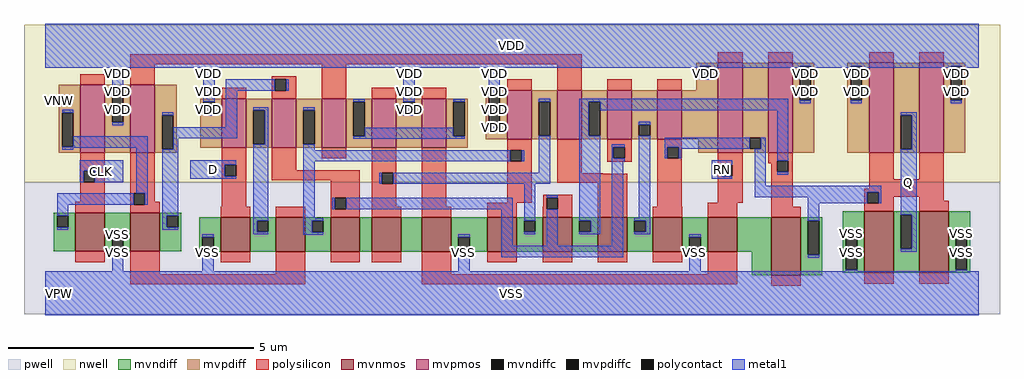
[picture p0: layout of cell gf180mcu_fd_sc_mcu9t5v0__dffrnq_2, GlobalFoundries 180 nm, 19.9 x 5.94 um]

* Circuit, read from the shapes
.subckt gf180mcu_fd_sc_mcu9t5v0__dffrnq_2 D RN CLK Q VDD VNW VPW VSS
XM1 VSS CLK n1 VPW nfet_06v0 w=0.79u l=0.6u
XM2 n2 n1 VSS VPW nfet_06v0 w=0.79u l=0.6u
XM3 n3 D VSS VPW nfet_06v0 w=0.7u l=0.6u
XM4 n4 n1 n3 VPW nfet_06v0 w=0.7u l=0.6u
XM5 n5 n2 n4 VPW nfet_06v0 w=0.7u l=0.6u
XM6 n6 n7 n5 VPW nfet_06v0 w=0.7u l=0.6u
XM7 VSS RN n6 VPW nfet_06v0 w=0.7u l=0.6u
XM8 n7 n4 VSS VPW nfet_06v0 w=0.7u l=0.6u
XM9 n8 n2 n7 VPW nfet_06v0 w=0.7u l=0.6u
XM10 n9 n1 n8 VPW nfet_06v0 w=0.7u l=0.6u
XM11 VSS n10 n9 VPW nfet_06v0 w=0.7u l=0.6u
XM12 n11 RN VSS VPW nfet_06v0 w=0.7u l=0.6u
XM13 n10 n8 n11 VPW nfet_06v0 w=1.18u l=0.6u
XM14 Q n10 VSS VPW nfet_06v0 w=1.25u l=0.6u m=2
XM15 VDD CLK n1 VNW pfet_06v0 w=1.38u l=0.5u
XM16 n2 n1 VDD VNW pfet_06v0 w=1.38u l=0.5u
XM17 n3 D VDD VNW pfet_06v0 w=1u l=0.5u
XM18 n4 n2 n3 VNW pfet_06v0 w=1u l=0.5u
XM19 n12 n1 n4 VNW pfet_06v0 w=1u l=0.5u
XM20 VDD n7 n12 VNW pfet_06v0 w=1u l=0.5u
XM21 n12 RN VDD VNW pfet_06v0 w=1u l=0.5u
XM22 n7 n4 VDD VNW pfet_06v0 w=1u l=0.5u
XM23 n8 n1 n7 VNW pfet_06v0 w=1u l=0.5u
XM24 n9 n2 n8 VNW pfet_06v0 w=1u l=0.5u
XM25 VDD n10 n9 VNW pfet_06v0 w=1u l=0.5u
XM26 n10 RN VDD VNW pfet_06v0 w=1.83u l=0.5u
XM27 VDD n8 n10 VNW pfet_06v0 w=1.83u l=0.5u
XM28 Q n10 VDD VNW pfet_06v0 w=1.83u l=0.5u m=2
.ends

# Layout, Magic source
magic
tech gf180mcuD
magscale 1 10
<< nwell >>
rect -86 453 3894 1094
<< pwell >>
rect -86 -86 3894 453
<< mvnmos >>
rect 124 170 244 328
rect 348 170 468 328
rect 716 169 836 309
rect 940 169 1060 309
rect 1164 169 1284 309
rect 1332 169 1452 309
rect 1536 169 1656 309
rect 1804 169 1924 309
rect 2030 169 2150 309
rect 2254 169 2374 309
rect 2478 169 2598 309
rect 2702 169 2822 309
rect 2962 73 3082 309
rect 3340 83 3460 333
rect 3564 83 3684 333
<< mvpmos >>
rect 144 573 244 849
rect 348 573 448 849
rect 720 593 820 793
rect 924 593 1024 793
rect 1128 593 1228 793
rect 1332 593 1432 793
rect 1536 593 1636 793
rect 1884 628 1984 828
rect 2088 628 2188 828
rect 2292 628 2392 828
rect 2496 628 2596 828
rect 2744 573 2844 939
rect 2948 573 3048 939
rect 3360 573 3460 939
rect 3564 573 3664 939
<< mvndiff >>
rect 36 315 124 328
rect 36 269 49 315
rect 95 269 124 315
rect 36 170 124 269
rect 244 229 348 328
rect 244 183 273 229
rect 319 183 348 229
rect 244 170 348 183
rect 468 315 556 328
rect 468 269 497 315
rect 543 269 556 315
rect 468 170 556 269
rect 628 228 716 309
rect 628 182 641 228
rect 687 182 716 228
rect 628 169 716 182
rect 836 296 940 309
rect 836 250 865 296
rect 911 250 940 296
rect 836 169 940 250
rect 1060 294 1164 309
rect 1060 248 1089 294
rect 1135 248 1164 294
rect 1060 169 1164 248
rect 1284 169 1332 309
rect 1452 169 1536 309
rect 1656 228 1804 309
rect 1656 182 1685 228
rect 1731 182 1804 228
rect 1656 169 1804 182
rect 1924 296 2030 309
rect 1924 250 1953 296
rect 1999 250 2030 296
rect 1924 169 2030 250
rect 2150 296 2254 309
rect 2150 250 2179 296
rect 2225 250 2254 296
rect 2150 169 2254 250
rect 2374 296 2478 309
rect 2374 250 2403 296
rect 2449 250 2478 296
rect 2374 169 2478 250
rect 2598 228 2702 309
rect 2598 182 2627 228
rect 2673 182 2702 228
rect 2598 169 2702 182
rect 2822 169 2962 309
rect 2882 73 2962 169
rect 3082 296 3170 309
rect 3082 156 3111 296
rect 3157 156 3170 296
rect 3082 73 3170 156
rect 3252 236 3340 333
rect 3252 96 3265 236
rect 3311 96 3340 236
rect 3252 83 3340 96
rect 3460 320 3564 333
rect 3460 180 3489 320
rect 3535 180 3564 320
rect 3460 83 3564 180
rect 3684 236 3772 333
rect 3684 96 3713 236
rect 3759 96 3772 236
rect 3684 83 3772 96
<< mvpdiff >>
rect 56 736 144 849
rect 56 596 69 736
rect 115 596 144 736
rect 56 573 144 596
rect 244 836 348 849
rect 244 696 273 836
rect 319 696 348 836
rect 244 573 348 696
rect 448 726 536 849
rect 2656 926 2744 939
rect 2656 880 2669 926
rect 2715 880 2744 926
rect 2656 828 2744 880
rect 1796 815 1884 828
rect 448 586 477 726
rect 523 586 536 726
rect 632 780 720 793
rect 632 734 645 780
rect 691 734 720 780
rect 632 593 720 734
rect 820 746 924 793
rect 820 606 849 746
rect 895 606 924 746
rect 820 593 924 606
rect 1024 746 1128 793
rect 1024 606 1053 746
rect 1099 606 1128 746
rect 1024 593 1128 606
rect 1228 780 1332 793
rect 1228 640 1257 780
rect 1303 640 1332 780
rect 1228 593 1332 640
rect 1432 780 1536 793
rect 1432 734 1461 780
rect 1507 734 1536 780
rect 1432 593 1536 734
rect 1636 780 1724 793
rect 1636 640 1665 780
rect 1711 640 1724 780
rect 1636 593 1724 640
rect 1796 675 1809 815
rect 1855 675 1884 815
rect 1796 628 1884 675
rect 1984 781 2088 828
rect 1984 641 2013 781
rect 2059 641 2088 781
rect 1984 628 2088 641
rect 2188 781 2292 828
rect 2188 641 2217 781
rect 2263 641 2292 781
rect 2188 628 2292 641
rect 2392 687 2496 828
rect 2392 641 2421 687
rect 2467 641 2496 687
rect 2392 628 2496 641
rect 2596 628 2744 828
rect 448 573 536 586
rect 2664 573 2744 628
rect 2844 634 2948 939
rect 2844 588 2873 634
rect 2919 588 2948 634
rect 2844 573 2948 588
rect 3048 926 3136 939
rect 3048 786 3077 926
rect 3123 786 3136 926
rect 3048 573 3136 786
rect 3272 926 3360 939
rect 3272 786 3285 926
rect 3331 786 3360 926
rect 3272 573 3360 786
rect 3460 726 3564 939
rect 3460 586 3489 726
rect 3535 586 3564 726
rect 3460 573 3564 586
rect 3664 926 3752 939
rect 3664 786 3693 926
rect 3739 786 3752 926
rect 3664 573 3752 786
<< mvndiffc >>
rect 49 269 95 315
rect 273 183 319 229
rect 497 269 543 315
rect 641 182 687 228
rect 865 250 911 296
rect 1089 248 1135 294
rect 1685 182 1731 228
rect 1953 250 1999 296
rect 2179 250 2225 296
rect 2403 250 2449 296
rect 2627 182 2673 228
rect 3111 156 3157 296
rect 3265 96 3311 236
rect 3489 180 3535 320
rect 3713 96 3759 236
<< mvpdiffc >>
rect 69 596 115 736
rect 273 696 319 836
rect 2669 880 2715 926
rect 477 586 523 726
rect 645 734 691 780
rect 849 606 895 746
rect 1053 606 1099 746
rect 1257 640 1303 780
rect 1461 734 1507 780
rect 1665 640 1711 780
rect 1809 675 1855 815
rect 2013 641 2059 781
rect 2217 641 2263 781
rect 2421 641 2467 687
rect 2873 588 2919 634
rect 3077 786 3123 926
rect 3285 786 3331 926
rect 3489 586 3535 726
rect 3693 786 3739 926
<< polysilicon >>
rect 348 933 2188 973
rect 2744 939 2844 983
rect 2948 939 3048 983
rect 3360 939 3460 983
rect 3564 939 3664 983
rect 144 849 244 893
rect 348 849 448 933
rect 924 872 1024 885
rect 720 793 820 837
rect 924 826 937 872
rect 983 826 1024 872
rect 924 793 1024 826
rect 1128 793 1228 933
rect 1332 793 1432 837
rect 1536 793 1636 837
rect 1884 828 1984 872
rect 2088 828 2188 933
rect 2292 828 2392 872
rect 2496 828 2596 872
rect 144 499 244 573
rect 144 453 157 499
rect 203 453 244 499
rect 144 372 244 453
rect 124 328 244 372
rect 348 407 448 573
rect 348 361 361 407
rect 407 372 448 407
rect 720 523 820 593
rect 720 477 733 523
rect 779 477 820 523
rect 407 361 468 372
rect 348 328 468 361
rect 720 353 820 477
rect 924 501 1024 593
rect 1128 549 1228 593
rect 924 461 1284 501
rect 1164 388 1284 461
rect 716 309 836 353
rect 940 309 1060 353
rect 1164 342 1182 388
rect 1228 342 1284 388
rect 1164 309 1284 342
rect 1332 491 1432 593
rect 1332 445 1373 491
rect 1419 445 1432 491
rect 1332 353 1432 445
rect 1536 353 1636 593
rect 1884 583 1984 628
rect 1884 537 1897 583
rect 1943 537 1984 583
rect 1884 369 1984 537
rect 2088 489 2188 628
rect 2292 595 2392 628
rect 2292 549 2317 595
rect 2363 549 2392 595
rect 2292 536 2392 549
rect 2496 595 2596 628
rect 2496 549 2537 595
rect 2583 549 2596 595
rect 2088 486 2274 489
rect 2088 449 2374 486
rect 2032 388 2150 401
rect 1332 309 1452 353
rect 1536 309 1656 353
rect 1804 309 1924 369
rect 2032 353 2045 388
rect 2030 342 2045 353
rect 2091 342 2150 388
rect 2030 309 2150 342
rect 2254 309 2374 449
rect 2496 353 2596 549
rect 2744 523 2844 573
rect 2948 540 3048 573
rect 2948 529 2985 540
rect 2744 477 2757 523
rect 2803 477 2844 523
rect 2744 369 2844 477
rect 2962 494 2985 529
rect 3031 494 3048 540
rect 2478 309 2598 353
rect 2702 309 2822 369
rect 2962 353 3048 494
rect 3360 464 3460 573
rect 3564 464 3664 573
rect 3360 425 3664 464
rect 3340 412 3664 425
rect 3340 366 3353 412
rect 3399 393 3664 412
rect 3399 366 3460 393
rect 2962 309 3082 353
rect 3340 333 3460 366
rect 3564 377 3664 393
rect 3564 333 3684 377
rect 124 126 244 170
rect 348 77 468 170
rect 716 125 836 169
rect 940 77 1060 169
rect 1164 125 1284 169
rect 1332 125 1452 169
rect 348 37 1060 77
rect 1536 77 1656 169
rect 1804 125 1924 169
rect 2030 125 2150 169
rect 2254 125 2374 169
rect 2478 125 2598 169
rect 2702 77 2822 169
rect 1536 37 2822 77
rect 2962 29 3082 73
rect 3340 39 3460 83
rect 3564 39 3684 83
<< polycontact >>
rect 937 826 983 872
rect 157 453 203 499
rect 361 361 407 407
rect 733 477 779 523
rect 1182 342 1228 388
rect 1373 445 1419 491
rect 1897 537 1943 583
rect 2317 549 2363 595
rect 2537 549 2583 595
rect 2045 342 2091 388
rect 2757 477 2803 523
rect 2985 494 3031 540
rect 3353 366 3399 412
<< metal1 >>
rect 0 926 3808 1098
rect 0 918 2669 926
rect 273 836 319 918
rect 69 736 115 747
rect 645 780 691 918
rect 273 685 319 696
rect 477 726 523 737
rect 115 596 418 639
rect 69 593 418 596
rect 69 585 115 593
rect 142 499 318 542
rect 142 453 157 499
rect 203 453 318 499
rect 372 407 418 593
rect 49 361 361 407
rect 407 361 418 407
rect 645 723 691 734
rect 737 826 937 872
rect 983 826 994 872
rect 737 677 783 826
rect 1257 780 1303 791
rect 523 631 783 677
rect 849 746 911 757
rect 523 586 543 631
rect 49 315 95 361
rect 49 258 95 269
rect 477 315 543 586
rect 895 606 911 746
rect 592 523 779 542
rect 592 477 733 523
rect 592 466 779 477
rect 477 269 497 315
rect 477 258 543 269
rect 849 296 911 606
rect 849 250 865 296
rect 273 229 319 240
rect 849 239 911 250
rect 1053 746 1099 757
rect 1461 780 1507 918
rect 1809 815 1855 918
rect 2715 918 3077 926
rect 2669 869 2715 880
rect 1461 723 1507 734
rect 1665 780 1711 791
rect 1303 640 1665 675
rect 1809 664 1855 675
rect 2013 781 2059 792
rect 1257 629 1711 640
rect 1053 583 1099 606
rect 1053 537 1897 583
rect 1943 537 1954 583
rect 1053 305 1099 537
rect 2013 491 2059 641
rect 1362 445 1373 491
rect 1419 445 2059 491
rect 2179 781 3031 792
rect 2179 641 2217 781
rect 2263 746 3031 781
rect 3123 918 3285 926
rect 3077 775 3123 786
rect 3331 918 3693 926
rect 3285 775 3331 786
rect 3739 918 3808 926
rect 3693 775 3739 786
rect 1171 342 1182 388
rect 1228 342 1907 388
rect 1053 294 1135 305
rect 1053 248 1089 294
rect 273 90 319 183
rect 641 228 687 239
rect 1053 237 1135 248
rect 641 90 687 182
rect 1685 228 1731 239
rect 1685 90 1731 182
rect 1861 193 1907 342
rect 1953 296 1999 445
rect 1953 239 1999 250
rect 2045 388 2091 399
rect 2045 193 2091 342
rect 2179 296 2263 641
rect 2421 687 2467 698
rect 2225 250 2263 296
rect 2179 239 2263 250
rect 2311 595 2363 606
rect 2311 549 2317 595
rect 2311 538 2363 549
rect 2311 193 2357 538
rect 2421 307 2467 641
rect 2526 595 2873 634
rect 2526 549 2537 595
rect 2583 588 2873 595
rect 2919 588 2939 634
rect 2583 549 2594 588
rect 2718 523 2803 542
rect 2718 477 2757 523
rect 2718 466 2803 477
rect 2893 437 2939 588
rect 2985 540 3031 746
rect 2985 483 3031 494
rect 3489 726 3554 737
rect 3535 586 3554 726
rect 2893 412 3410 437
rect 2893 391 3353 412
rect 2403 296 2467 307
rect 2449 250 2467 296
rect 2403 239 2467 250
rect 3111 366 3353 391
rect 3399 366 3410 412
rect 3111 296 3157 366
rect 1861 147 2357 193
rect 2627 228 2673 239
rect 2627 90 2673 182
rect 3489 320 3554 586
rect 3111 145 3157 156
rect 3265 236 3311 247
rect 3535 180 3554 320
rect 3489 169 3554 180
rect 3713 236 3759 247
rect 3265 90 3311 96
rect 3713 90 3759 96
rect 0 -90 3808 90
<< labels >>
flabel metal1 s 142 453 318 542 0 FreeSans 200 0 0 0 CLK
port 3 nsew clock input
flabel metal1 s 592 466 779 542 0 FreeSans 200 0 0 0 D
port 1 nsew default input
flabel metal1 s 3489 169 3554 737 0 FreeSans 200 0 0 0 Q
port 4 nsew default output
flabel metal1 s 2718 466 2803 542 0 FreeSans 200 0 0 0 RN
port 2 nsew default input
flabel metal1 s 0 918 3808 1098 0 FreeSans 200 0 0 0 VDD
port 5 nsew power bidirectional abutment
flabel metal1 s 3713 240 3759 247 0 FreeSans 200 0 0 0 VSS
port 8 nsew ground bidirectional abutment
flabel nwell s 10 734 110 834 0 FreeSans 400 0 0 0 VNW
port 6 nsew power bidirectional
flabel pwell s 10 -50 110 50 0 FreeSans 400 0 0 0 VPW
port 7 nsew ground bidirectional
rlabel metal1 s 3693 869 3739 918 1 VDD
port 5 nsew power bidirectional abutment
rlabel metal1 s 3285 869 3331 918 1 VDD
port 5 nsew power bidirectional abutment
rlabel metal1 s 3077 869 3123 918 1 VDD
port 5 nsew power bidirectional abutment
rlabel metal1 s 2669 869 2715 918 1 VDD
port 5 nsew power bidirectional abutment
rlabel metal1 s 1809 869 1855 918 1 VDD
port 5 nsew power bidirectional abutment
rlabel metal1 s 1461 869 1507 918 1 VDD
port 5 nsew power bidirectional abutment
rlabel metal1 s 645 869 691 918 1 VDD
port 5 nsew power bidirectional abutment
rlabel metal1 s 273 869 319 918 1 VDD
port 5 nsew power bidirectional abutment
rlabel metal1 s 3693 775 3739 869 1 VDD
port 5 nsew power bidirectional abutment
rlabel metal1 s 3285 775 3331 869 1 VDD
port 5 nsew power bidirectional abutment
rlabel metal1 s 3077 775 3123 869 1 VDD
port 5 nsew power bidirectional abutment
rlabel metal1 s 1809 775 1855 869 1 VDD
port 5 nsew power bidirectional abutment
rlabel metal1 s 1461 775 1507 869 1 VDD
port 5 nsew power bidirectional abutment
rlabel metal1 s 645 775 691 869 1 VDD
port 5 nsew power bidirectional abutment
rlabel metal1 s 273 775 319 869 1 VDD
port 5 nsew power bidirectional abutment
rlabel metal1 s 1809 723 1855 775 1 VDD
port 5 nsew power bidirectional abutment
rlabel metal1 s 1461 723 1507 775 1 VDD
port 5 nsew power bidirectional abutment
rlabel metal1 s 645 723 691 775 1 VDD
port 5 nsew power bidirectional abutment
rlabel metal1 s 273 723 319 775 1 VDD
port 5 nsew power bidirectional abutment
rlabel metal1 s 1809 685 1855 723 1 VDD
port 5 nsew power bidirectional abutment
rlabel metal1 s 273 685 319 723 1 VDD
port 5 nsew power bidirectional abutment
rlabel metal1 s 1809 664 1855 685 1 VDD
port 5 nsew power bidirectional abutment
rlabel metal1 s 3265 240 3311 247 1 VSS
port 8 nsew ground bidirectional abutment
rlabel metal1 s 3713 239 3759 240 1 VSS
port 8 nsew ground bidirectional abutment
rlabel metal1 s 3265 239 3311 240 1 VSS
port 8 nsew ground bidirectional abutment
rlabel metal1 s 273 239 319 240 1 VSS
port 8 nsew ground bidirectional abutment
rlabel metal1 s 3713 90 3759 239 1 VSS
port 8 nsew ground bidirectional abutment
rlabel metal1 s 3265 90 3311 239 1 VSS
port 8 nsew ground bidirectional abutment
rlabel metal1 s 2627 90 2673 239 1 VSS
port 8 nsew ground bidirectional abutment
rlabel metal1 s 1685 90 1731 239 1 VSS
port 8 nsew ground bidirectional abutment
rlabel metal1 s 641 90 687 239 1 VSS
port 8 nsew ground bidirectional abutment
rlabel metal1 s 273 90 319 239 1 VSS
port 8 nsew ground bidirectional abutment
rlabel metal1 s 0 -90 3808 90 1 VSS
port 8 nsew ground bidirectional abutment
<< properties >>
string FIXED_BBOX 0 0 3808 1008
string GDS_END 622914
string GDS_FILE $PDKPATH/libs.ref/gf180mcu_fd_sc_mcu9t5v0/gds/gf180mcu_fd_sc_mcu9t5v0.gds
string GDS_START 613694
string LEFclass core
string LEFsite GF018hv5v_green_sc9
string LEFsymmetry X Y
<< end >>
